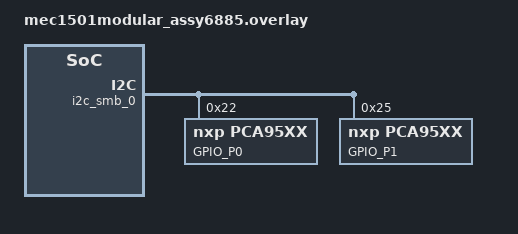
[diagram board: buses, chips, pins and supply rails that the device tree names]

&i2c_smb_0 {
	status = "okay";
	label = "I2C0";
	port_sel = <0>;

	pca9555@22 {
		compatible = "nxp,pca95xx";
		label = "GPIO_P0";

		/* Address depends on 0100<A2=0><A1=1><A0=0><R/W>b. */
		reg = <0x22>;
		gpio-controller;
		#gpio-cells = <2>;
	};

	pca9555@25 {
		compatible = "nxp,pca95xx";
		label = "GPIO_P1";

		/* Address depends on 0100<A2=1><A1=0><A0=1><R/W>b. */
		reg = <0x25>;
		gpio-controller;
		#gpio-cells = <2>;
	};
};
